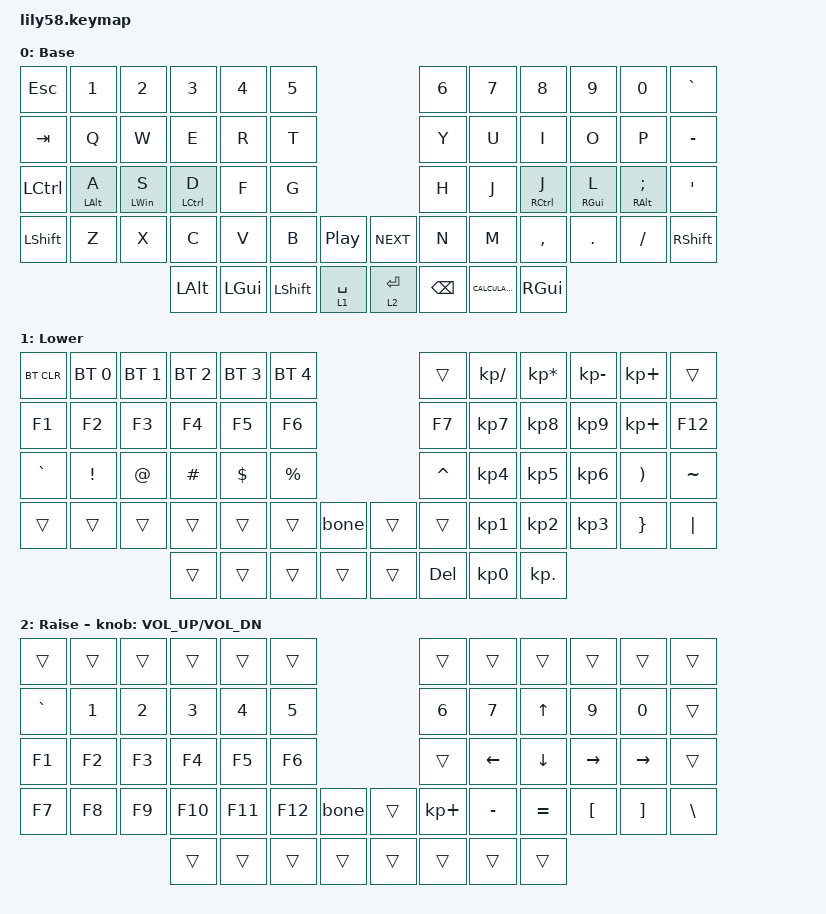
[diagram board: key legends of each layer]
/*
 * Copyright (c) 2020 The ZMK Contributors
 *
 * SPDX-License-Identifier: MIT
 */

#include <behaviors.dtsi>
#include <dt-bindings/zmk/bt.h>
#include <dt-bindings/zmk/keys.h>

/ {
    macros {
        bone: bone {
            compatible = "zmk,behavior-macro";
            #binding-cells = <0>;
            bindings = <&kp B &kp O &kp N &kp E &kp S &kp L &kp I &kp K &kp E &kp I &kp R &kp O &kp N &kp B &kp L &kp O &kp O &kp D &kp L &kp I &kp K &kp E &kp M &kp E &kp R &kp C &kp U &kp R &kp Y>;
            label = "BONE";
        };
    };

    behaviors {
        HMR: HMR {
            compatible = "zmk,behavior-hold-tap";
            label = "HMR";
            #binding-cells = <2>;
            bindings = <&kp>, <&kp>;

            tapping-term-ms = <280>;
            quick-tap-ms = <175>;
            flavor = "tap-preferred";
            hold-trigger-key-positions = <0 1 2 3 4 5 12 13 14 15 16 17 24 25 26 27 28 29 36 37 38 39 40 41 50 51 52 53 54 55 56 57>;
            hold-trigger-on-release;
        };

        HML: HML {
            compatible = "zmk,behavior-hold-tap";
            label = "HML";
            bindings = <&kp>, <&kp>;

            #binding-cells = <2>;
            tapping-term-ms = <280>;
            quick-tap-ms = <175>;
            flavor = "tap-preferred";
            hold-trigger-key-positions = <6 10 11 18 19 20 21 22 23 30 31 32 33 34 35 44 45 46 47 48 49 54 55 56 57 7 8 9 50 51 52 53>;
            hold-trigger-on-release;
        };
    };

    keymap {
        compatible = "zmk,keymap";

        default_layer {
            // ------------------------------------------------------------------------------------------------------------
            // |  ESC  |  1  |  2  |  3   |  4   |  5   |                   |  6   |  7    |  8    |  9   |   0   |   `   |
            // |  TAB  |  Q  |  W  |  E   |  R   |  T   |                   |  Y   |  U    |  I    |  O   |   P   |   -   |
            // |  CTRL |  A  |  S  |  D   |  F   |  G   |                   |  H   |  J    |  K    |  L   |   ;   |   '   |
            // | SHIFT |  Z  |  X  |  C   |  V   |  B   |   "["  |  |  "]"  |  N   |  M    |  ,    |  .   |   /   | SHIFT |
            //                     | ALT  | GUI  | LOWER|  SPACE |  | ENTER | RAISE| BSPC  | GUI   |

            display-name = "Base";
            bindings = <
&kp ESC    &kp N1           &kp N2           &kp N3               &kp N4    &kp N5                                           &kp N6         &kp N7            &kp N8                &kp N9            &kp N0               &kp GRAVE
&kp TAB    &kp Q            &kp W            &kp E                &kp R     &kp T                                            &kp Y          &kp U             &kp I                 &kp O             &kp P                &kp MINUS
&kp LCTRL  &HML LEFT_ALT A  &HML LEFT_WIN S  &HML LEFT_CONTROL D  &kp F     &kp G                                            &kp H          &kp J             &HMR RIGHT_CONTROL J  &HMR RIGHT_GUI L  &HMR RIGHT_ALT SEMI  &kp SQT
&kp LSHFT  &kp Z            &kp X            &kp C                &kp V     &kp B           &kp C_PLAY_PAUSE    &kp C_NEXT   &kp N          &kp M             &kp COMMA             &kp DOT           &kp FSLH             &kp RSHFT
                                             &kp LALT             &kp LGUI  &kp LEFT_SHIFT  &lt 1 SPACE         &lt 2 ENTER  &kp BACKSPACE  &kp K_CALCULATOR  &kp RGUI
            >;
        };

        lower_layer {
            // ------------------------------------------------------------------------------------------------------------
            // | BTCLR | BT1 | BT2 |  BT3 |  BT4 |  BT5 |                   |      |       |       |      |       |       |
            // |  F1   |  F2 |  F3 |  F4  |  F5  |  F6  |                   |  F7  |  F8   |  F9   |  F10 |  F11  |  F12  |
            // |   `   |  !  |  @  |  #   |  $   |  %   |                   |  ^   |  &    |  *    |  (   |   )   |   ~   |
            // |       |     |     |      |      |      |        |  |       |      |  _    |  +    |  {   |   }   |  "|"  |
            //                     |      |      |      |        |  |       |      |       |       |

            display-name = "Lower";
            bindings = <
&bt BT_CLR  &bt BT_SEL 0  &bt BT_SEL 1  &bt BT_SEL 2  &bt BT_SEL 3  &bt BT_SEL 4                    &trans      &kp KP_DIVIDE    &kp KP_MULTIPLY  &kp KP_SUBTRACT  &kp KP_PLUS  &trans
&kp F1      &kp F2        &kp F3        &kp F4        &kp F5        &kp F6                          &kp F7      &kp KP_NUMBER_7  &kp KP_NUMBER_8  &kp KP_NUMBER_9  &kp KP_PLUS  &kp F12
&kp GRAVE   &kp EXCL      &kp AT        &kp HASH      &kp DOLLAR    &kp PRCNT                       &kp CARET   &kp KP_NUMBER_4  &kp KP_NUMBER_5  &kp KP_NUMBER_6  &kp RPAR     &kp TILDE
&trans      &trans        &trans        &trans        &trans        &trans        &bone     &trans  &trans      &kp KP_NUMBER_1  &kp KP_NUMBER_2  &kp KP_NUMBER_3  &kp RBRC     &kp PIPE
                                        &trans        &trans        &trans        &trans    &trans  &kp DELETE  &kp KP_NUMBER_0  &kp KP_DOT
            >;
        };

        raise_layer {
            // ------------------------------------------------------------------------------------------------------------
            // |       |     |     |      |      |      |                   |      |       |       |      |       |       |
            // |   `   |  1  |  2  |  3   |  4   |  5   |                   |  6   |   7   |   8   |  9   |   0   |       |
            // |   F1  |  F2 |  F3 |  F4  |  F5  |  F6  |                   |      |   <-  |   v   |  ^   |  ->   |       |
            // |   F7  |  F8 |  F9 |  F10 |  F11 |  F12 |        |  |       |  +   |   -   |   =   |  [   |   ]   |   \   |
            //                     |      |      |      |        |  |       |      |       |       |

            display-name = "Raise";
            bindings = <
&trans     &trans  &trans  &trans   &trans   &trans                     &trans       &trans     &trans        &trans     &trans     &trans
&kp GRAVE  &kp N1  &kp N2  &kp N3   &kp N4   &kp N5                     &kp N6       &kp N7     &kp UP_ARROW  &kp N9     &kp N0     &trans
&kp F1     &kp F2  &kp F3  &kp F4   &kp F5   &kp F6                     &trans       &kp LEFT   &kp DOWN      &kp RIGHT  &kp RIGHT  &trans
&kp F7     &kp F8  &kp F9  &kp F10  &kp F11  &kp F12  &bone     &trans  &kp KP_PLUS  &kp MINUS  &kp EQUAL     &kp LBKT   &kp RBKT   &kp BSLH
                           &trans   &trans   &trans   &trans    &trans  &trans       &trans     &trans
            >;

            sensor-bindings = <&inc_dec_kp C_VOL_UP C_VOL_DN>;
        };

        extra_1 { status = "reserved"; };

        extra_2 { status = "reserved"; };

        extra_3 { status = "reserved"; };
    };
};
